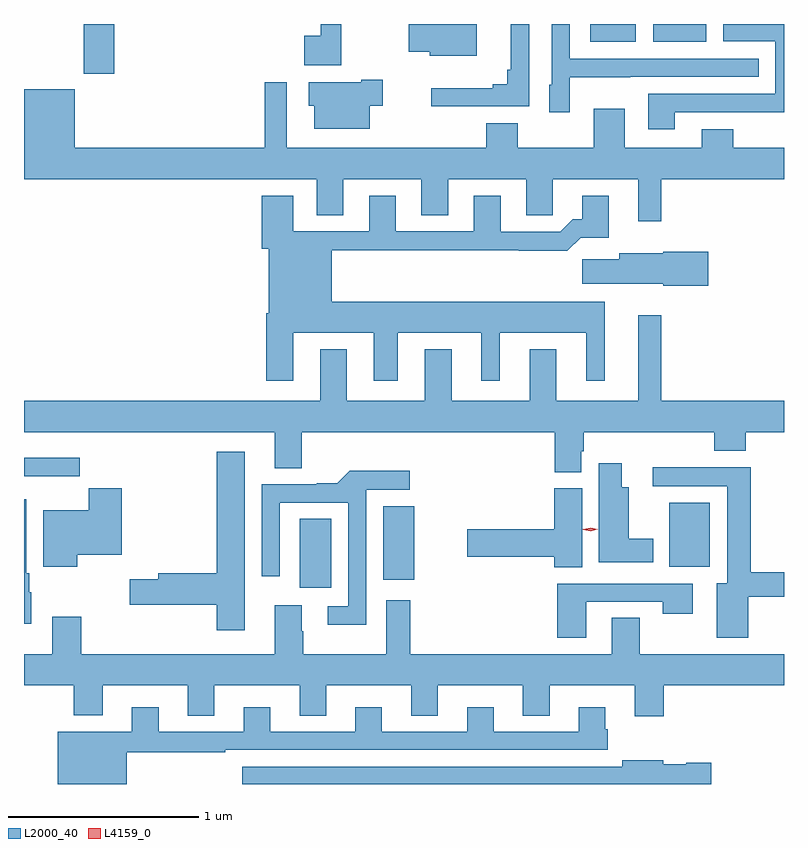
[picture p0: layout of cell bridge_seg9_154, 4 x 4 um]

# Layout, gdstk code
import gdstk
lib = gdstk.Library(unit=1e-6, precision=1e-09)
def R(c, l, rs):  # rectangles x0, y0, x1, y1
    for r in rs: c.add(gdstk.rectangle(r[:2], r[2:], *l))
def P(c, l, *ps):  # polygons
    for p in ps: c.add(gdstk.Polygon(p, *l))
L2000_40 = (2000, 40)
L4159_0 = (4159, 0)

bridge_seg9_154 = lib.new_cell('bridge_seg9_154')
R(bridge_seg9_154, L2000_40, [(542.741,1166.298,542.908,1166.66), (543.182,1166.339,543.346,1166.725), (544.688,1166.408,544.9,1166.743), (541.606,1169.001,541.766,1169.264), (544.271,1169.171,544.51,1169.264), (544.604,1169.171,544.882,1169.264)])
P(bridge_seg9_154, L2000_40, [(543.673,1169.264),(543.317,1169.264),(543.317,1169.117),(543.426,1169.117),(543.426,1169.096),(543.673,1169.096)],
  [(544.717,1168.8),(545.147,1168.8),(545.147,1168.799),(545.291,1168.799),(545.291,1169.264),(544.971,1169.264),(544.971,1169.172),(545.244,1169.172),(545.244,1168.896),(544.577,1168.896),(544.577,1168.71),(544.717,1168.71)],
  [(544.164,1168.985),(544.481,1168.985),(544.481,1168.986),(545.159,1168.986),(545.159,1169.082),(544.164,1169.082),(544.164,1169.264),(544.068,1169.264),(544.068,1168.944),(544.055,1168.944),(544.055,1168.8),(544.164,1168.8)],
  [(542.962,1169.264),(542.852,1169.264),(542.852,1169.201),(542.766,1169.201),(542.766,1169.048),(542.962,1169.048)],
  [(543.951,1169.264),(543.854,1169.264),(543.854,1169.023),(543.835,1169.023),(543.835,1168.946),(543.758,1168.946),(543.758,1168.927),(543.435,1168.927),(543.435,1168.83),(543.951,1168.83)],
  [(543.112,1168.835),(543.178,1168.835),(543.178,1168.97),(543.065,1168.97),(543.065,1168.957),(542.789,1168.957),(542.789,1168.835),(542.819,1168.835),(542.819,1168.712),(543.112,1168.712)],
  [(544.645,1168.448),(545.291,1168.448),(545.291,1168.612),(545.023,1168.612),(545.023,1168.711),(544.859,1168.711),(544.859,1168.612),(544.453,1168.612),(544.453,1168.819),(544.289,1168.819),(544.289,1168.612),(543.889,1168.612),(543.889,1168.741),(543.725,1168.741),(543.725,1168.612),(542.673,1168.612),(542.673,1168.957),(542.557,1168.957),(542.557,1168.612),(541.558,1168.612),(541.558,1168.921),(541.291,1168.921),(541.291,1168.448),(542.831,1168.448),(542.831,1168.258),(542.971,1168.258),(542.971,1168.448),(543.383,1168.448),(543.383,1168.258),(543.523,1168.258),(543.523,1168.448),(543.935,1168.448),(543.935,1168.258),(544.074,1168.258),(544.074,1168.448),(544.523,1168.448),(544.523,1168.227),(544.645,1168.227)],
  [(542.707,1167.638),(543.131,1167.638),(543.131,1167.387),(543.259,1167.387),(543.259,1167.638),(543.698,1167.638),(543.698,1167.387),(543.796,1167.387),(543.796,1167.638),(544.25,1167.638),(544.25,1167.387),(544.348,1167.387),(544.348,1167.802),(542.911,1167.802),(542.911,1168.072),(543.895,1168.072),(543.895,1168.07),(544.151,1168.07),(544.22,1168.139),(544.369,1168.139),(544.369,1168.36),(544.229,1168.36),(544.229,1168.237),(544.18,1168.237),(544.113,1168.17),(543.799,1168.17),(543.799,1168.36),(543.659,1168.36),(543.659,1168.173),(543.247,1168.173),(543.247,1168.36),(543.107,1168.36),(543.107,1168.173),(542.707,1168.173),(542.707,1168.36),(542.543,1168.36),(542.543,1168.08),(542.579,1168.08),(542.579,1167.742),(542.567,1167.742),(542.567,1167.387),(542.707,1167.387)],
  [(544.891,1168.065),(544.656,1168.065),(544.656,1168.057),(544.424,1168.057),(544.424,1168.025),(544.23,1168.025),(544.23,1167.896),(544.656,1167.896),(544.656,1167.887),(544.891,1167.887)],
  [(544.225,1167.015),(544.238,1167.015),(544.238,1167.116),(544.925,1167.116),(544.925,1167.017),(545.09,1167.017),(545.09,1167.116),(545.291,1167.116),(545.291,1167.28),(544.645,1167.28),(544.645,1167.73),(544.523,1167.73),(544.523,1167.28),(544.093,1167.28),(544.093,1167.553),(543.953,1167.553),(543.953,1167.28),(543.541,1167.28),(543.541,1167.553),(543.401,1167.553),(543.401,1167.28),(542.989,1167.28),(542.989,1167.553),(542.849,1167.553),(542.849,1167.28),(541.291,1167.28),(541.291,1167.116),(542.612,1167.116),(542.612,1166.926),(542.752,1166.926),(542.752,1167.116),(544.085,1167.116),(544.085,1166.905),(544.225,1166.905)],
  [(542.452,1167.013),(542.306,1167.013),(542.306,1166.372),(541.997,1166.372),(541.997,1166.342),(541.848,1166.342),(541.848,1166.207),(542.306,1166.207),(542.306,1166.073),(542.452,1166.073)],
  [(541.475,1166.885),(541.584,1166.885),(541.584,1166.98),(541.291,1166.98),(541.291,1166.883),(541.475,1166.883)],
  [(544.603,1166.554),(544.474,1166.554),(544.474,1166.827),(544.438,1166.827),(544.438,1166.953),(544.316,1166.953),(544.316,1166.432),(544.603,1166.432)],
  [(545.104,1166.25),(545.291,1166.25),(545.291,1166.378),(545.117,1166.378),(545.117,1166.93),(544.599,1166.93),(544.599,1166.832),(544.991,1166.832),(544.991,1166.32),(544.937,1166.32),(544.937,1166.034),(545.104,1166.034)],
  [(543.093,1166.814),(543.322,1166.814),(543.322,1166.912),(543.005,1166.912),(542.939,1166.846),(542.831,1166.846),(542.831,1166.841),(542.541,1166.841),(542.541,1166.358),(542.637,1166.358),(542.637,1166.745),(542.997,1166.745),(542.997,1166.199),(542.889,1166.199),(542.889,1166.102),(543.093,1166.102)],
  [(544.228,1166.82),(544.082,1166.82),(544.082,1166.606),(543.624,1166.606),(543.624,1166.459),(544.082,1166.459),(544.082,1166.404),(544.228,1166.404)],
  [(541.57,1166.471),(541.805,1166.471),(541.805,1166.82),(541.631,1166.82),(541.631,1166.704),(541.391,1166.704),(541.391,1166.408),(541.57,1166.408)],
  [(541.33,1166.274),(541.318,1166.274),(541.318,1166.374),(541.303,1166.374),(541.303,1166.764),(541.291,1166.764),(541.291,1166.108),(541.33,1166.108)],
  [(544.249,1166.223),(544.654,1166.223),(544.654,1166.16),(544.81,1166.16),(544.81,1166.319),(544.097,1166.319),(544.097,1166.034),(544.249,1166.034)],
  [(544.658,1165.784),(545.291,1165.784),(545.291,1165.948),(544.533,1165.948),(544.533,1166.138),(544.385,1166.138),(544.385,1165.948),(543.323,1165.948),(543.323,1166.23),(543.197,1166.23),(543.197,1165.948),(542.76,1165.948),(542.76,1166.069),(542.752,1166.069),(542.752,1166.206),(542.612,1166.206),(542.612,1165.948),(541.592,1165.948),(541.592,1166.143),(541.439,1166.143),(541.439,1165.948),(541.291,1165.948),(541.291,1165.784),(541.553,1165.784),(541.553,1165.625),(541.705,1165.625),(541.705,1165.784),(542.153,1165.784),(542.153,1165.624),(542.293,1165.624),(542.293,1165.784),(542.741,1165.784),(542.741,1165.624),(542.881,1165.624),(542.881,1165.784),(543.329,1165.784),(543.329,1165.624),(543.469,1165.624),(543.469,1165.784),(543.917,1165.784),(543.917,1165.624),(544.057,1165.624),(544.057,1165.784),(544.505,1165.784),(544.505,1165.62),(544.658,1165.62)],
  [(541.831,1165.431),(542.351,1165.431),(542.351,1165.443),(544.364,1165.443),(544.364,1165.551),(544.351,1165.551),(544.351,1165.669),(544.211,1165.669),(544.211,1165.539),(543.763,1165.539),(543.763,1165.669),(543.623,1165.669),(543.623,1165.539),(543.175,1165.539),(543.175,1165.669),(543.035,1165.669),(543.035,1165.539),(542.587,1165.539),(542.587,1165.669),(542.447,1165.669),(542.447,1165.539),(541.999,1165.539),(541.999,1165.669),(541.859,1165.669),(541.859,1165.54),(541.469,1165.54),(541.469,1165.264),(541.831,1165.264)],
  [(544.909,1165.377),(544.776,1165.377),(544.776,1165.369),(544.656,1165.369),(544.656,1165.39),(544.439,1165.39),(544.439,1165.354),(542.439,1165.354),(542.439,1165.264),(544.909,1165.264)])
P(bridge_seg9_154, L4159_0, [(544.273,1166.594),(544.234,1166.603),(544.233,1166.604),(544.234,1166.604),(544.273,1166.614),(544.312,1166.604),(544.312,1166.604),(544.312,1166.604)])

lib.write_gds('bridge_seg9_154.gds')
